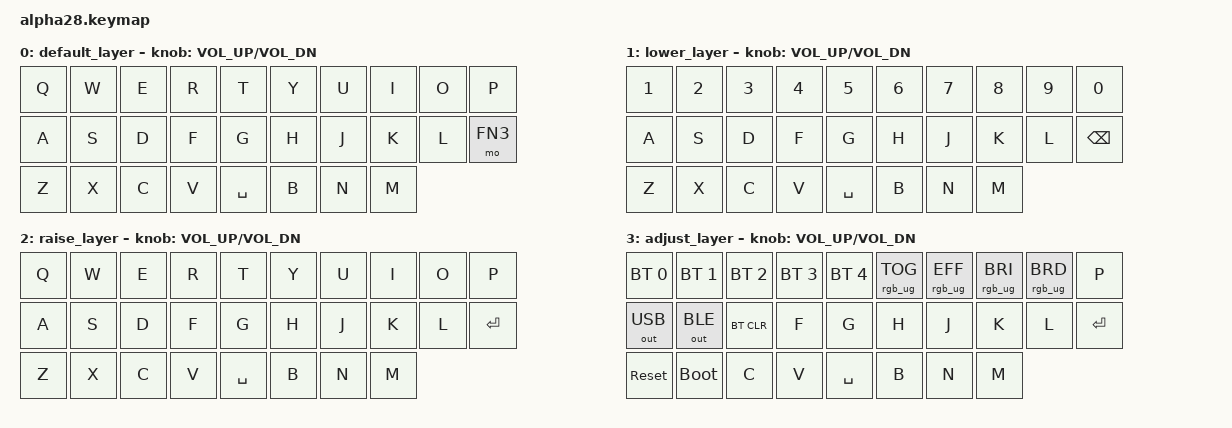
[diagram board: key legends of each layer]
#include <behaviors.dtsi>
#include <dt-bindings/zmk/keys.h>
#include <dt-bindings/zmk/bt.h>
#include <dt-bindings/zmk/outputs.h>
#include <dt-bindings/zmk/rgb.h>
#define FN0 0
#define FN1 1
#define FN2 2
#define FN3 3

#define HYPER(key) LS(LC(LA(LG(key))))
#define MEH(key)   LS(LC(LA(key)))

/ {

    keymap {
        compatible = "zmk,keymap";
        default_layer {
            bindings = <
                &kp Q  &kp W  &kp E  &kp R  &kp T      &kp Y  &kp U  &kp I  &kp O  &kp P
                &kp A  &kp S  &kp D  &kp F  &kp G      &kp H  &kp J  &kp K  &kp L  &mo FN3
                &kp Z  &kp X  &kp C  &kp V  &kp SPACE  &kp B  &kp N  &kp M
            >;
                sensor-bindings = <&inc_dec_kp C_VOL_UP C_VOL_DN>;
        };

        lower_layer {
            bindings = <
                &kp N1  &kp N2  &kp N3  &kp N4  &kp N5      &kp N6  &kp N7  &kp N8  &kp N9  &kp N0
                &kp A   &kp S   &kp D   &kp F   &kp G       &kp H  &kp J  &kp K  &kp L  &kp BSPC
                &kp Z   &kp X   &kp C   &kp V   &kp SPACE   &kp B  &kp N  &kp M
            >;
                sensor-bindings = <&inc_dec_kp C_VOL_UP C_VOL_DN>;
        };

        raise_layer {
            bindings = <
                &kp Q  &kp W  &kp E  &kp R  &kp T      &kp Y  &kp U  &kp I  &kp O  &kp P
                &kp A  &kp S  &kp D  &kp F  &kp G      &kp H  &kp J  &kp K  &kp L  &kp RET
                &kp Z  &kp X  &kp C  &kp V  &kp SPACE  &kp B  &kp N  &kp M
            >;
                sensor-bindings = <&inc_dec_kp C_VOL_UP C_VOL_DN>;
        };

        adjust_layer {
            bindings = <
                &bt BT_SEL 0  &bt BT_SEL 1  &bt BT_SEL 2  &bt BT_SEL 3  &bt BT_SEL 4      &rgb_ug  RGB_TOG  &rgb_ug  RGB_EFF &rgb_ug  RGB_BRI &rgb_ug  RGB_BRD  &kp P
                &out OUT_USB  &out OUT_BLE  &bt BT_CLR    &kp F         &kp G             &kp H  &kp J  &kp K  &kp L  &kp RET
                &sys_reset    &bootloader   &kp C         &kp V         &kp SPACE         &kp B  &kp N  &kp M
            >;
                sensor-bindings = <&inc_dec_kp C_VOL_UP C_VOL_DN>;
        };
    };
};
